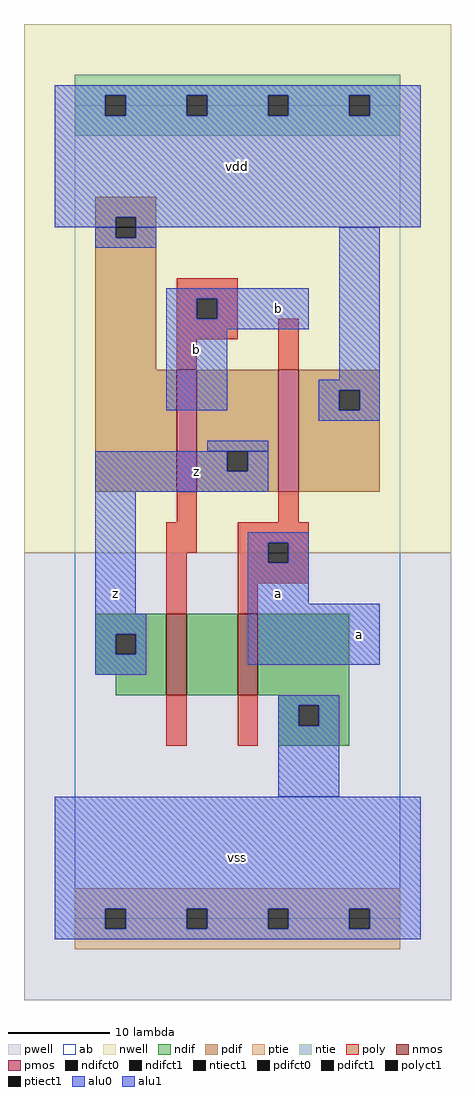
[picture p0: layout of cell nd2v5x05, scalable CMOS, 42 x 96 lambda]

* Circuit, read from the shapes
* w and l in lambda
.subckt nd2v5x05 a b vdd vss z
M1 n1 b z vss nfet w=8 l=2
M2 vss a n1 vss nfet w=8 l=2
M3 z b vdd vdd pfet w=12 l=2
M4 vdd a z vdd pfet w=12 l=2
.ends

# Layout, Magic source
magic
tech scmos
<< ab >>
rect 0 0 32 80
<< nwell >>
rect -5 36 37 88
<< pwell >>
rect -5 -8 37 36
<< poly >>
rect 10 61 16 63
rect 10 59 12 61
rect 14 59 16 61
rect 10 57 16 59
rect 10 54 12 57
rect 20 54 22 59
rect 10 39 12 42
rect 20 39 22 42
rect 9 36 12 39
rect 16 37 23 39
rect 9 30 11 36
rect 16 35 19 37
rect 21 35 23 37
rect 16 33 23 35
rect 16 30 18 33
rect 9 17 11 22
rect 16 17 18 22
<< ndif >>
rect 2 28 9 30
rect 2 26 4 28
rect 6 26 9 28
rect 2 24 9 26
rect 4 22 9 24
rect 11 22 16 30
rect 18 22 27 30
rect 20 21 27 22
rect 20 19 22 21
rect 24 19 27 21
rect 20 17 27 19
<< pdif >>
rect 2 69 8 71
rect 2 67 4 69
rect 6 67 8 69
rect 2 54 8 67
rect 2 42 10 54
rect 12 46 20 54
rect 12 44 15 46
rect 17 44 20 46
rect 12 42 20 44
rect 22 52 30 54
rect 22 50 26 52
rect 28 50 30 52
rect 22 42 30 50
<< alu1 >>
rect -2 81 34 82
rect -2 79 3 81
rect 5 79 11 81
rect 13 79 19 81
rect 21 79 27 81
rect 29 79 34 81
rect -2 69 34 79
rect -2 68 4 69
rect 6 68 34 69
rect 9 61 23 62
rect 9 59 12 61
rect 14 59 23 61
rect 9 58 23 59
rect 9 50 15 58
rect 2 44 15 46
rect 17 44 19 46
rect 2 42 19 44
rect 2 30 6 42
rect 17 37 23 38
rect 17 35 19 37
rect 21 35 23 37
rect 17 31 23 35
rect 2 28 7 30
rect 2 26 4 28
rect 6 26 7 28
rect 2 24 7 26
rect 17 25 30 31
rect -2 1 34 12
rect -2 -1 3 1
rect 5 -1 11 1
rect 13 -1 19 1
rect 21 -1 27 1
rect 29 -1 34 1
rect -2 -2 34 -1
<< ptie >>
rect 0 1 32 3
rect 0 -1 3 1
rect 5 -1 11 1
rect 13 -1 19 1
rect 21 -1 27 1
rect 29 -1 32 1
rect 0 -3 32 -1
<< ntie >>
rect 0 81 32 83
rect 0 79 3 81
rect 5 79 11 81
rect 13 79 19 81
rect 21 79 27 81
rect 29 79 32 81
rect 0 77 32 79
<< nmos >>
rect 9 22 11 30
rect 16 22 18 30
<< pmos >>
rect 10 42 12 54
rect 20 42 22 54
<< polyct1 >>
rect 12 59 14 61
rect 19 35 21 37
<< ndifct0 >>
rect 22 19 24 21
<< ndifct1 >>
rect 4 26 6 28
<< ntiect1 >>
rect 3 79 5 81
rect 11 79 13 81
rect 19 79 21 81
rect 27 79 29 81
<< ptiect1 >>
rect 3 -1 5 1
rect 11 -1 13 1
rect 19 -1 21 1
rect 27 -1 29 1
<< pdifct0 >>
rect 4 67 6 68
rect 26 50 28 52
<< pdifct1 >>
rect 4 68 6 69
rect 15 44 17 46
<< alu0 >>
rect 2 67 4 68
rect 6 67 8 68
rect 2 66 8 67
rect 26 53 30 68
rect 24 52 30 53
rect 24 50 26 52
rect 28 50 30 52
rect 24 49 30 50
rect 13 46 19 47
rect 20 21 26 22
rect 20 19 22 21
rect 24 19 26 21
rect 20 12 26 19
<< labels >>
rlabel alu1 4 32 4 32 6 z
rlabel alu1 12 44 12 44 6 z
rlabel alu1 12 56 12 56 6 b
rlabel alu1 16 6 16 6 6 vss
rlabel alu1 20 32 20 32 6 a
rlabel alu1 20 60 20 60 6 b
rlabel alu1 16 74 16 74 6 vdd
rlabel alu1 28 28 28 28 6 a
<< end >>
